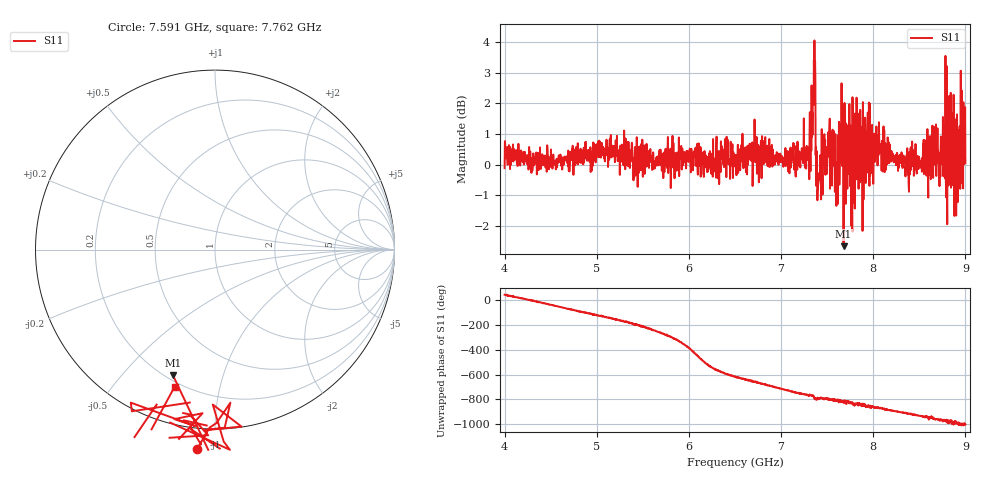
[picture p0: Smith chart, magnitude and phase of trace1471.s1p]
! Created with skrf 1.8.0 (http://scikit-rf.org).
# Hz S RI R 50.0
!freq ReS11 ImS11
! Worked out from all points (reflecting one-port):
!   1601 points, 4 GHz to 9 GHz, reference 50 ohm
!   lowest |S11| = -2.7 dB at 7.678 GHz (marker M1), VSWR 6.60, Z = 11.4 - j34.7 ohm
!   phase of S11 starts at 46 deg and turns -1050 deg over the sweep
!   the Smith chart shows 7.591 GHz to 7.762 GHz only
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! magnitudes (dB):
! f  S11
! 4 GHz  -0.1
! 4.625 GHz  -0.2
! 5.25 GHz  -0.3
! 5.875 GHz  0.3
! 6.5 GHz  0.2
! 7.125 GHz  0.3
! 7.281 GHz  0.5
! 7.316 GHz  0.9
! 7.347 GHz  2.4
! 7.369 GHz  3.4
! 7.4 GHz  -0.8
! 7.412 GHz  -0.3
! 7.534 GHz  1.1
! 7.609 GHz  0.1
! 7.647 GHz  1.2
! 7.678 GHz  -2.7
! 7.703 GHz  -1.3
! 7.75 GHz  -0.7
! 7.775 GHz  2.2
! 7.828 GHz  1.3
! 7.872 GHz  0.4
! 8.047 GHz  0.0
! 8.375 GHz  -0.1
! 8.725 GHz  0.3
! 8.809 GHz  0.9
! 8.906 GHz  0.8
! 8.956 GHz  0.5
! 9 GHz  0.1
